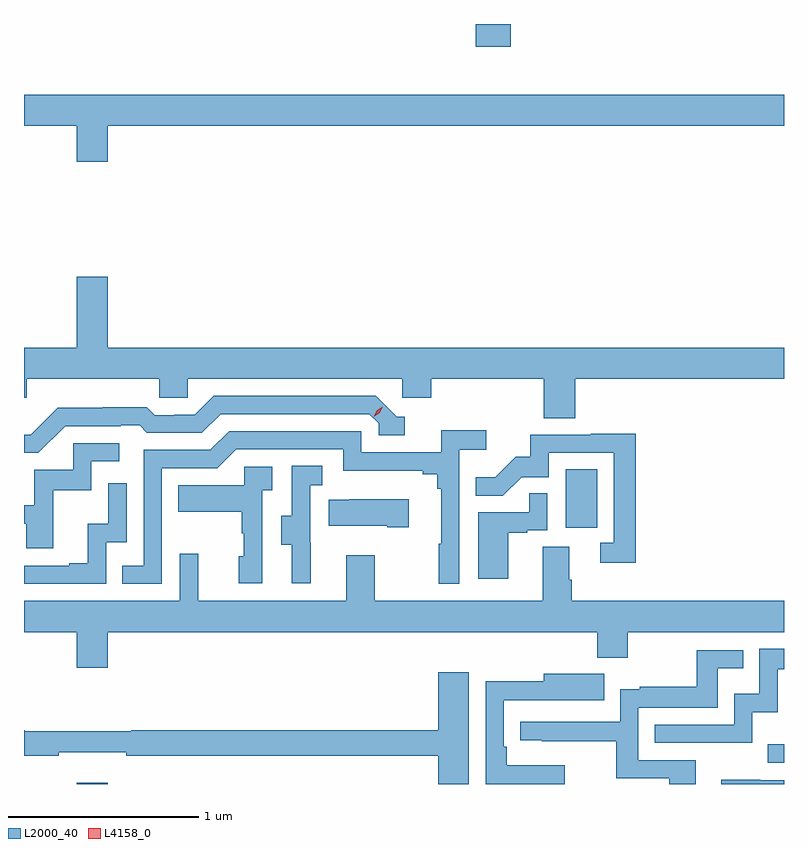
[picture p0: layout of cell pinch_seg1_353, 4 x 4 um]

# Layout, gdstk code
import gdstk
lib = gdstk.Library(unit=1e-6, precision=1e-09)
def R(c, l, rs):  # rectangles x0, y0, x1, y1
    for r in rs: c.add(gdstk.rectangle(r[:2], r[2:], *l))
def P(c, l, *ps):  # polygons
    for p in ps: c.add(gdstk.Polygon(p, *l))
L2000_40 = (2000, 40)
L4158_0 = (4158, 0)

pinch_seg1_353 = lib.new_cell('pinch_seg1_353')
R(pinch_seg1_353, L2000_40, [(980.192,546.936,980.356,546.943), (983.829,547.047,983.914,547.144), (982.766,548.286,982.93,548.593), (982.292,550.815,982.475,550.936)])
P(pinch_seg1_353, L2000_40, [(980.356,550.4),(983.914,550.4),(983.914,550.564),(979.914,550.564),(979.914,550.4),(980.192,550.4),(980.192,550.212),(980.356,550.212)],
  [(982.814,549.068),(983.914,549.068),(983.914,549.232),(980.356,549.232),(980.356,549.607),(980.192,549.607),(980.192,549.232),(979.914,549.232),(979.914,548.97),(979.928,548.97),(979.928,549.068),(980.625,549.068),(980.625,548.97),(980.775,548.97),(980.775,549.068),(981.906,549.068),(981.906,548.97),(982.058,548.97),(982.058,549.068),(982.649,549.068),(982.649,548.86),(982.814,548.86)],
  [(980.13,548.82),(980.423,548.82),(980.423,548.823),(980.522,548.823),(980.561,548.784),(980.85,548.784),(980.949,548.883),(981.732,548.883),(981.78,548.835),(981.78,548.772),(981.919,548.772),(981.919,548.868),(981.876,548.868),(981.765,548.979),(980.912,548.979),(980.813,548.88),(980.706,548.88),(980.706,548.877),(980.603,548.877),(980.561,548.92),(980.328,548.92),(980.328,548.917),(980.092,548.917),(979.95,548.775),(979.914,548.775),(979.914,548.679),(979.989,548.679)],
  [(980.64,548.598),(980.931,548.598),(981.03,548.697),(981.594,548.697),(981.594,548.585),(982.013,548.585),(982.013,548.566),(982.09,548.566),(982.09,548.489),(982.109,548.489),(982.109,548.201),(982.098,548.201),(982.098,547.989),(982.206,547.989),(982.206,548.696),(982.348,548.696),(982.348,548.798),(982.109,548.798),(982.109,548.682),(981.69,548.682),(981.69,548.793),(980.993,548.793),(980.894,548.694),(980.544,548.694),(980.544,548.085),(980.431,548.085),(980.431,547.989),(980.64,547.989)],
  [(983.135,548.78),(982.897,548.78),(982.897,548.775),(982.579,548.775),(982.579,548.658),(982.502,548.658),(982.395,548.551),(982.291,548.551),(982.291,548.452),(982.435,548.452),(982.533,548.55),(982.677,548.55),(982.677,548.679),(983.019,548.679),(983.019,548.205),(982.947,548.205),(982.947,548.1),(983.135,548.1)],
  [(980.069,548.481),(980.268,548.481),(980.268,548.634),(980.416,548.634),(980.416,548.73),(980.172,548.73),(980.172,548.589),(979.967,548.589),(979.967,548.403),(979.914,548.403),(979.914,548.307),(979.925,548.307),(979.925,548.178),(980.069,548.178)],
  [(981.422,548.205),(981.42,548.205),(981.42,548.509),(981.484,548.509),(981.484,548.612),(981.324,548.612),(981.324,548.349),(981.269,548.349),(981.269,548.194),(981.323,548.194),(981.323,547.992),(981.422,547.992)],
  [(981.168,548.483),(981.22,548.483),(981.22,548.607),(981.072,548.607),(981.072,548.509),(980.725,548.509),(980.725,548.369),(981.06,548.369),(981.06,548.255),(981.07,548.255),(981.07,548.136),(981.044,548.136),(981.044,547.992),(981.168,547.992)],
  [(980.346,548.208),(980.454,548.208),(980.454,548.518),(980.358,548.518),(980.358,548.306),(980.249,548.306),(980.249,548.098),(980.153,548.098),(980.153,548.085),(979.914,548.085),(979.914,547.989),(980.346,547.989)],
  [(982.462,548.259),(982.562,548.259),(982.562,548.271),(982.668,548.271),(982.668,548.465),(982.573,548.465),(982.573,548.367),(982.304,548.367),(982.304,548.016),(982.462,548.016)],
  [(981.94,548.434),(981.625,548.434),(981.625,548.431),(981.517,548.431),(981.517,548.294),(981.827,548.294),(981.827,548.287),(981.94,548.287)],
  [(980.356,547.736),(982.931,547.736),(982.931,547.601),(983.091,547.601),(983.091,547.736),(983.914,547.736),(983.914,547.9),(982.796,547.9),(982.796,548.012),(982.783,548.012),(982.783,548.186),(982.643,548.186),(982.643,547.9),(981.759,547.9),(981.759,548.14),(981.611,548.14),(981.611,547.9),(980.831,547.9),(980.831,548.149),(980.733,548.149),(980.733,547.9),(979.914,547.9),(979.914,547.736),(980.192,547.736),(980.192,547.548),(980.356,547.548)],
  [(983.748,547.313),(983.881,547.313),(983.881,547.539),(983.914,547.539),(983.914,547.647),(983.784,547.647),(983.784,547.411),(983.652,547.411),(983.652,547.248),(983.233,547.248),(983.233,547.152),(983.748,547.152)],
  [(983.449,547.062),(983.148,547.062),(983.148,547.338),(983.565,547.338),(983.565,547.544),(983.699,547.544),(983.699,547.641),(983.454,547.641),(983.454,547.447),(983.155,547.447),(983.155,547.435),(983.052,547.435),(983.052,547.263),(982.527,547.263),(982.527,547.167),(982.639,547.167),(982.639,547.162),(983.032,547.162),(983.032,546.966),(983.309,546.966),(983.309,546.936),(983.449,546.936)],
  [(982.255,547.525),(982.094,547.525),(982.094,547.22),(980.479,547.22),(980.479,547.213),(979.919,547.213),(979.919,547.22),(979.914,547.22),(979.914,547.084),(980.096,547.084),(980.096,547.103),(980.452,547.103),(980.452,547.084),(982.094,547.084),(982.094,546.936),(982.255,546.936)],
  [(982.759,547.036),(982.454,547.036),(982.454,547.132),(982.44,547.132),(982.44,547.377),(982.753,547.377),(982.753,547.376),(982.967,547.376),(982.967,547.516),(982.649,547.516),(982.649,547.478),(982.344,547.478),(982.344,546.936),(982.759,546.936)],
  [(983.914,546.957),(983.79,546.957),(983.79,546.959),(983.585,546.959),(983.585,546.936),(983.914,546.936)])
P(pinch_seg1_353, L4158_0, [(981.755,548.87),(981.755,548.87),(981.772,548.902),(981.803,548.921),(981.803,548.921),(981.803,548.921),(981.787,548.889),(981.755,548.87)])

lib.write_gds('pinch_seg1_353.gds')
